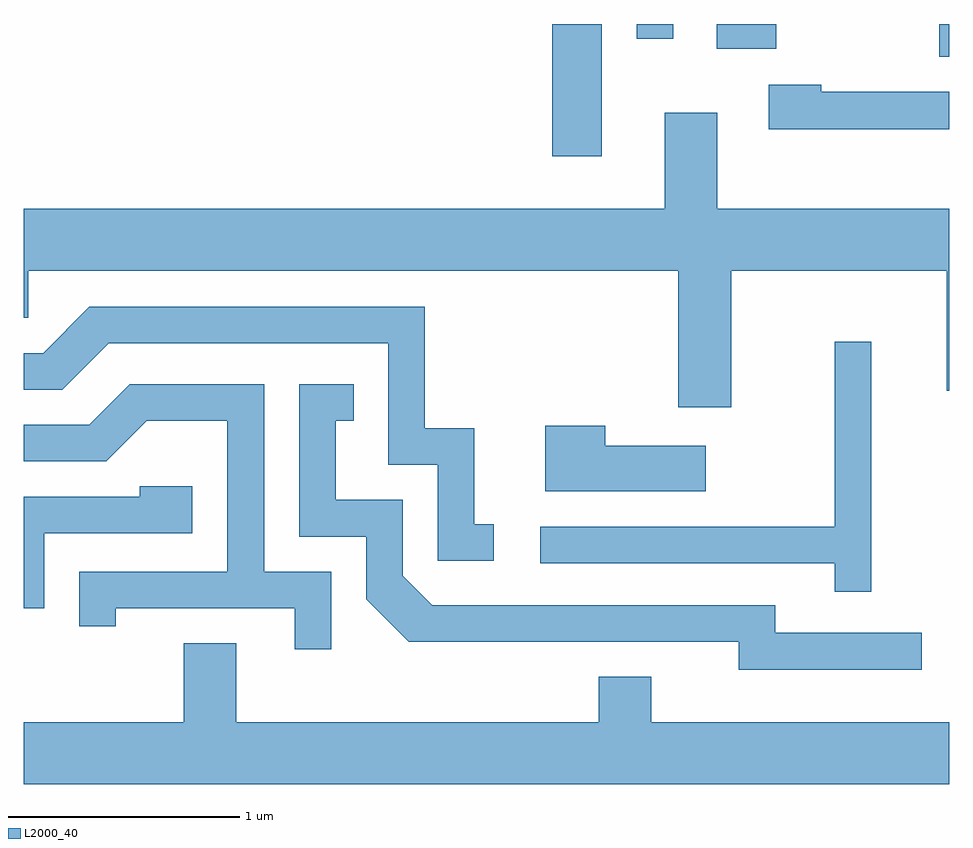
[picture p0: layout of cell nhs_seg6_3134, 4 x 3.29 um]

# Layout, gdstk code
import gdstk
lib = gdstk.Library(unit=1e-6, precision=1e-09)
def R(c, l, rs):  # rectangles x0, y0, x1, y1
    for r in rs: c.add(gdstk.rectangle(r[:2], r[2:], *l))
def P(c, l, *ps):  # polygons
    for p in ps: c.add(gdstk.Polygon(p, *l))
L2000_40 = (2000, 40)

nhs_seg6_3134 = lib.new_cell('nhs_seg6_3134')
R(nhs_seg6_3134, L2000_40, [(281.896,1601.591,282.109,1602.162), (283.568,1602.021,283.611,1602.162), (282.606,1602.056,282.864,1602.162), (282.261,1602.098,282.419,1602.162)])
P(nhs_seg6_3134, L2000_40, [(283.611,1601.869),(283.059,1601.869),(283.059,1601.899),(282.831,1601.899),(282.831,1601.706),(283.611,1601.706)],
  [(282.669,1601.096),(283.601,1601.096),(283.601,1600.576),(283.611,1600.576),(283.611,1601.364),(282.609,1601.364),(282.609,1601.779),(282.381,1601.779),(282.381,1601.364),(279.611,1601.364),(279.611,1600.891),(279.629,1600.891),(279.629,1601.096),(282.441,1601.096),(282.441,1600.506),(282.669,1600.506)],
  [(281.643,1599.999),(281.559,1599.999),(281.559,1600.414),(281.344,1600.414),(281.344,1600.939),(279.894,1600.939),(279.694,1600.739),(279.611,1600.739),(279.611,1600.581),(279.777,1600.581),(279.977,1600.781),(281.186,1600.781),(281.186,1600.256),(281.401,1600.256),(281.401,1599.841),(281.643,1599.841)],
  [(283.274,1600.788),(283.116,1600.788),(283.116,1599.989),(281.843,1599.989),(281.843,1599.831),(283.116,1599.831),(283.116,1599.708),(283.274,1599.708)],
  [(283.493,1599.529),(282.859,1599.529),(282.859,1599.649),(281.377,1599.649),(281.249,1599.777),(281.249,1600.104),(280.959,1600.104),(280.959,1600.446),(281.038,1600.446),(281.038,1600.604),(280.801,1600.604),(280.801,1599.946),(281.091,1599.946),(281.091,1599.674),(281.274,1599.491),(282.701,1599.491),(282.701,1599.371),(283.493,1599.371)],
  [(280.939,1599.794),(280.649,1599.794),(280.649,1600.604),(280.069,1600.604),(279.894,1600.429),(279.611,1600.429),(279.611,1600.271),(279.967,1600.271),(280.142,1600.446),(280.491,1600.446),(280.491,1599.794),(279.851,1599.794),(279.851,1599.558),(280.009,1599.558),(280.009,1599.636),(280.781,1599.636),(280.781,1599.458),(280.939,1599.458)],
  [(282.559,1600.339),(282.124,1600.339),(282.124,1600.424),(281.866,1600.424),(281.866,1600.141),(282.559,1600.141)],
  [(279.699,1599.961),(280.339,1599.961),(280.339,1600.164),(280.111,1600.164),(280.111,1600.119),(279.611,1600.119),(279.611,1599.636),(279.699,1599.636)],
  [(283.611,1599.144),(282.324,1599.144),(282.324,1599.339),(282.096,1599.339),(282.096,1599.144),(280.529,1599.144),(280.529,1599.484),(280.301,1599.484),(280.301,1599.144),(279.611,1599.144),(279.611,1598.876),(283.611,1598.876)])

lib.write_gds('nhs_seg6_3134.gds')
